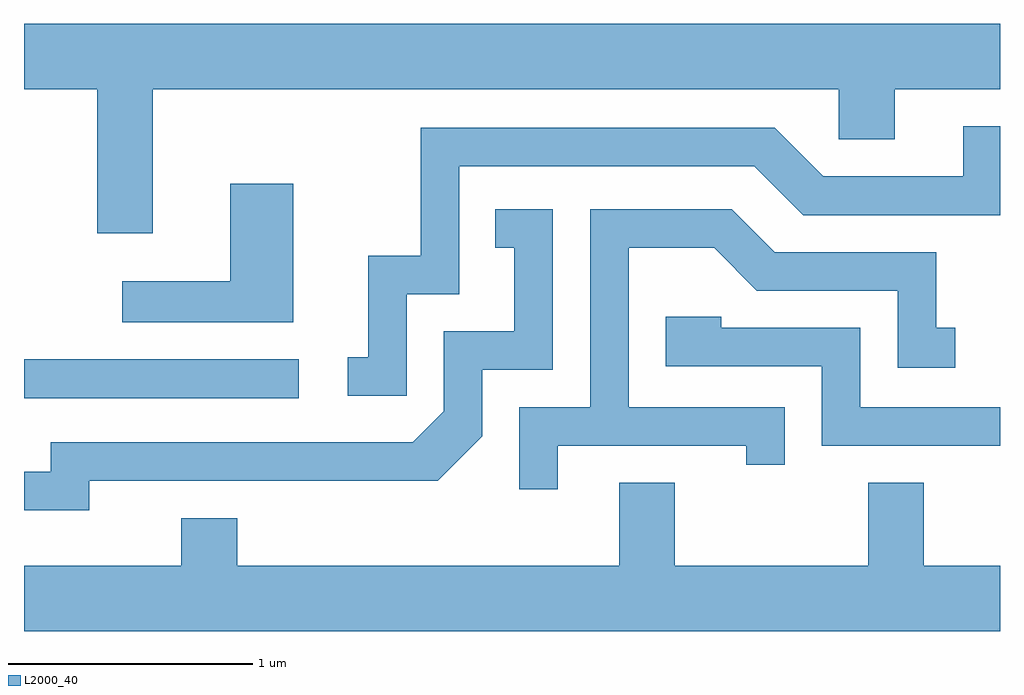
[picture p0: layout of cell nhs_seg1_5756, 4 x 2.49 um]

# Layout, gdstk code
import gdstk
lib = gdstk.Library(unit=1e-6, precision=1e-09)
def R(c, l, rs):  # rectangles x0, y0, x1, y1
    for r in rs: c.add(gdstk.rectangle(r[:2], r[2:], *l))
def P(c, l, *ps):  # polygons
    for p in ps: c.add(gdstk.Polygon(p, *l))
L2000_40 = (2000, 40)

nhs_seg1_5756 = lib.new_cell('nhs_seg1_5756')
R(nhs_seg1_5756, L2000_40, [(357.611,969.351,358.738,969.509)])
P(nhs_seg1_5756, L2000_40, [(358.139,970.616),(360.951,970.616),(360.951,970.411),(361.179,970.411),(361.179,970.616),(361.611,970.616),(361.611,970.884),(357.611,970.884),(357.611,970.616),(357.911,970.616),(357.911,970.026),(358.139,970.026)],
  [(359.179,969.776),(359.394,969.776),(359.394,970.301),(360.604,970.301),(360.804,970.101),(361.611,970.101),(361.611,970.464),(361.461,970.464),(361.461,970.259),(360.887,970.259),(360.687,970.459),(359.236,970.459),(359.236,969.934),(359.021,969.934),(359.021,969.519),(358.938,969.519),(358.938,969.361),(359.179,969.361)],
  [(358.714,970.229),(358.456,970.229),(358.456,969.829),(358.013,969.829),(358.013,969.661),(358.714,969.661)],
  [(357.879,969.011),(359.307,969.011),(359.489,969.194),(359.489,969.466),(359.779,969.466),(359.779,970.124),(359.543,970.124),(359.543,969.966),(359.621,969.966),(359.621,969.624),(359.331,969.624),(359.331,969.297),(359.204,969.169),(357.721,969.169),(357.721,969.049),(357.611,969.049),(357.611,968.891),(357.879,968.891)],
  [(359.799,969.156),(360.571,969.156),(360.571,969.078),(360.729,969.078),(360.729,969.314),(360.089,969.314),(360.089,969.966),(360.439,969.966),(360.614,969.791),(361.191,969.791),(361.191,969.476),(361.428,969.476),(361.428,969.639),(361.349,969.639),(361.349,969.949),(360.687,969.949),(360.512,970.124),(359.931,970.124),(359.931,969.314),(359.641,969.314),(359.641,968.978),(359.799,968.978)],
  [(361.611,969.314),(361.039,969.314),(361.039,969.639),(360.469,969.639),(360.469,969.684),(360.241,969.684),(360.241,969.481),(360.881,969.481),(360.881,969.156),(361.611,969.156)],
  [(361.611,968.664),(361.299,968.664),(361.299,969.004),(361.071,969.004),(361.071,968.664),(360.279,968.664),(360.279,969.004),(360.051,969.004),(360.051,968.664),(358.484,968.664),(358.484,968.859),(358.256,968.859),(358.256,968.664),(357.611,968.664),(357.611,968.396),(361.611,968.396)])

lib.write_gds('nhs_seg1_5756.gds')
